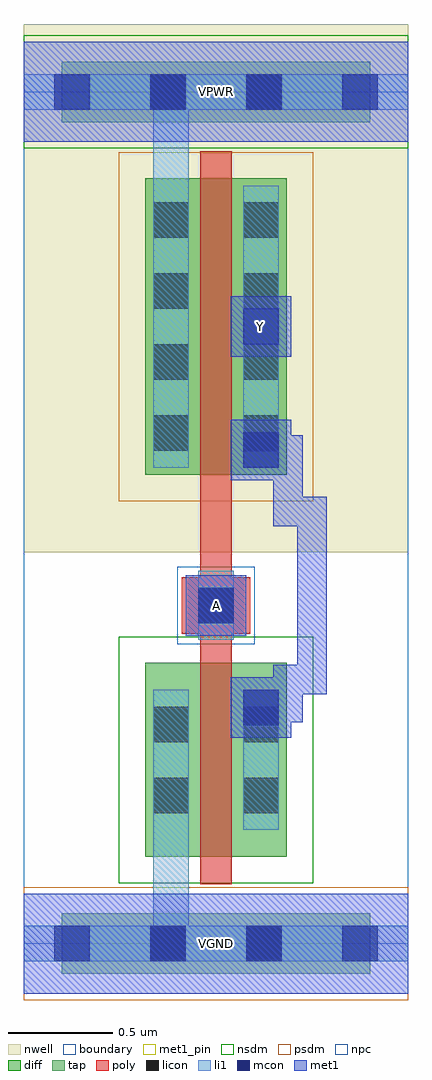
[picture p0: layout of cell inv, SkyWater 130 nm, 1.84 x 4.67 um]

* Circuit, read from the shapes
.subckt inv A VGND VPWR Y
XM1 Y A VGND VGND sky130_fd_pr__nfet_01v8 w=0.93 l=0.15
XM2 Y A VPWR VPWR sky130_fd_pr__pfet_01v8 w=1.42 l=0.15
.ends

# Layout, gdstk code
import gdstk
lib = gdstk.Library(unit=1e-6, precision=1e-09)
def R(c, l, rs):  # rectangles x0, y0, x1, y1
    for r in rs: c.add(gdstk.rectangle(r[:2], r[2:], *l))
def A(c, l, x, y, w, h, nx, ny, dx, dy):  # array of equal rectangles
    R(c, l, [(x+i*dx, y+j*dy, x+i*dx+w, y+j*dy+h) for i in range(nx) for j in range(ny)])
nwell = (64, 20)
diff = (65, 20)
tap = (65, 44)
poly = (66, 20)
licon = (66, 44)
li1 = (67, 20)
mcon = (67, 44)
met1_pin = (68, 16)
met1 = (68, 20)
nsdm = (93, 44)
psdm = (94, 20)
npc = (95, 20)
boundary = (235, 4)

inv = lib.new_cell('inv')
R(inv, nwell, [(0,1.875,1.84,4.405)])
R(inv, diff, [(0.58,0.415,1.26,1.345), (0.58,2.245,1.26,3.665)])
R(inv, tap, [(0.18,-0.145,1.66,0.145), (0.18,3.935,1.66,4.225)])
R(inv, poly, [(0.845,0.285,0.995,3.795), (0.755,1.485,1.085,1.755)])
A(inv, licon, 0.62, 2.36, 0.17, 0.17, 1, 4, 0, 0.34)
A(inv, licon, 1.05, 2.36, 0.17, 0.17, 1, 4, 0, 0.34)
R(inv, licon, [(0.605,-0.085,0.775,0.085), (1.065,-0.085,1.235,0.085), (0.62,0.625,0.79,0.795), (1.05,0.625,1.22,0.795), (0.62,0.965,0.79,1.135), (1.05,0.965,1.22,1.135), (0.835,1.535,1.005,1.705), (0.605,3.995,0.775,4.165), (1.065,3.995,1.235,4.165)])
R(inv, li1, [(0,-0.085,1.84,0.085), (0.62,-0.085,0.79,1.215), (0.62,0.545,0.79,1.215), (1.05,0.545,1.22,1.215), (0.835,1.455,1.005,1.785), (0.62,2.28,0.79,3.63), (0.62,2.28,0.79,4.165), (1.05,2.28,1.22,3.63), (0,3.995,1.84,4.165)])
A(inv, mcon, 0.145, -0.085, 0.17, 0.17, 4, 2, 0.46, 4.08)
R(inv, mcon, [(1.05,1.045,1.22,1.215), (0.835,1.535,1.005,1.705), (1.05,2.28,1.22,2.45), (1.05,2.87,1.22,3.04)])
R(inv, met1_pin, [(0,-0.24,1.84,0.24), (0.775,1.475,1.065,1.765), (0.99,2.81,1.28,3.1), (0,3.84,1.84,4.32)])
R(inv, met1, [(0,-0.24,1.84,0.24), (0.99,0.985,1.28,1.275), (1.065,1.06,1.335,1.2), (1.195,1.06,1.335,1.335), (1.195,1.195,1.45,1.335), (1.31,1.195,1.45,2.14), (0.775,1.475,1.065,1.765), (1.195,2,1.335,2.255), (1.195,2,1.45,2.14), (1.195,2.115,1.335,2.435), (0.99,2.22,1.28,2.51), (1.065,2.295,1.335,2.435), (0.99,2.81,1.28,3.1), (0,3.84,1.84,4.32)])
R(inv, nsdm, [(0.455,0.29,1.385,1.47), (0,3.81,1.84,4.35)])
R(inv, psdm, [(0,-0.27,1.84,0.27), (0.455,2.12,1.385,3.79)])
R(inv, npc, [(0.735,1.435,1.105,1.805)])
R(inv, boundary, [(0,0,1.84,4.08)])
inv.add(gdstk.Label('A', (0.92,1.62), layer=68, texttype=5))
inv.add(gdstk.Label('Y', (1.135,2.955), layer=68, texttype=5))
inv.add(gdstk.Label('VPWR', (0.92,4.08), layer=68, texttype=5))
inv.add(gdstk.Label('VGND', (0.92,0), layer=68, texttype=5))
inv.add(gdstk.Label('A', (0.92,1.62), layer=68, texttype=16))
inv.add(gdstk.Label('Y', (1.135,2.955), layer=68, texttype=16))
inv.add(gdstk.Label('VPWR', (0.92,4.08), layer=68, texttype=16))
inv.add(gdstk.Label('VGND', (0.92,0), layer=68, texttype=16))

lib.write_gds('inv.gds')
